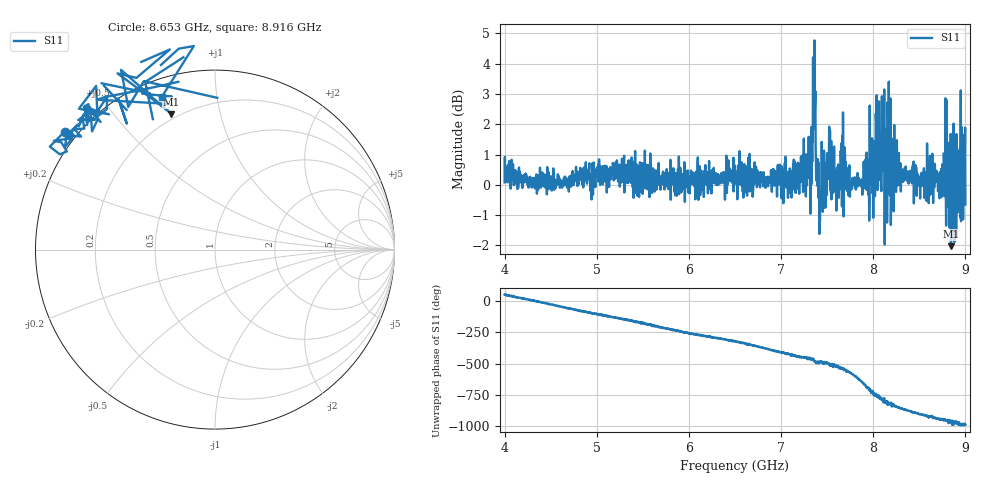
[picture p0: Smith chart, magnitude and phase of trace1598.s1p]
! Created with skrf 1.8.0 (http://scikit-rf.org).
# Hz S RI R 50.0
!freq ReS11 ImS11
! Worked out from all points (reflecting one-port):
!   1601 points, 4 GHz to 9 GHz, reference 50 ohm
!   lowest |S11| = -2.0 dB at 8.844 GHz (marker M1), VSWR 8.63, Z = 8.81 + j35.7 ohm
!   phase of S11 starts at 52 deg and turns -1041 deg over the sweep
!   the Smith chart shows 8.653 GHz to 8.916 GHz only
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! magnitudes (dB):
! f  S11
! 4 GHz  0.1
! 4.625 GHz  -0.1
! 5.25 GHz  -0.1
! 5.875 GHz  0.1
! 6.5 GHz  0.6
! 7.125 GHz  0.1
! 7.303 GHz  0.3
! 7.35 GHz  1.8
! 7.372 GHz  3.1
! 7.4 GHz  0.8
! 7.412 GHz  -0.1
! 7.525 GHz  0.8
! 7.609 GHz  0.6
! 7.669 GHz  0.7
! 7.75 GHz  0.0
! 7.869 GHz  -0.1
! 7.988 GHz  1.5
! 8 GHz  -1.1
! 8.053 GHz  1.0
! 8.066 GHz  1.3
! 8.162 GHz  0.4
! 8.216 GHz  1.3
! 8.375 GHz  0.4
! 8.728 GHz  -0.1
! 8.788 GHz  -0.4
! 8.844 GHz  -2.0
! 8.972 GHz  1.2
! 9 GHz  -0.6
